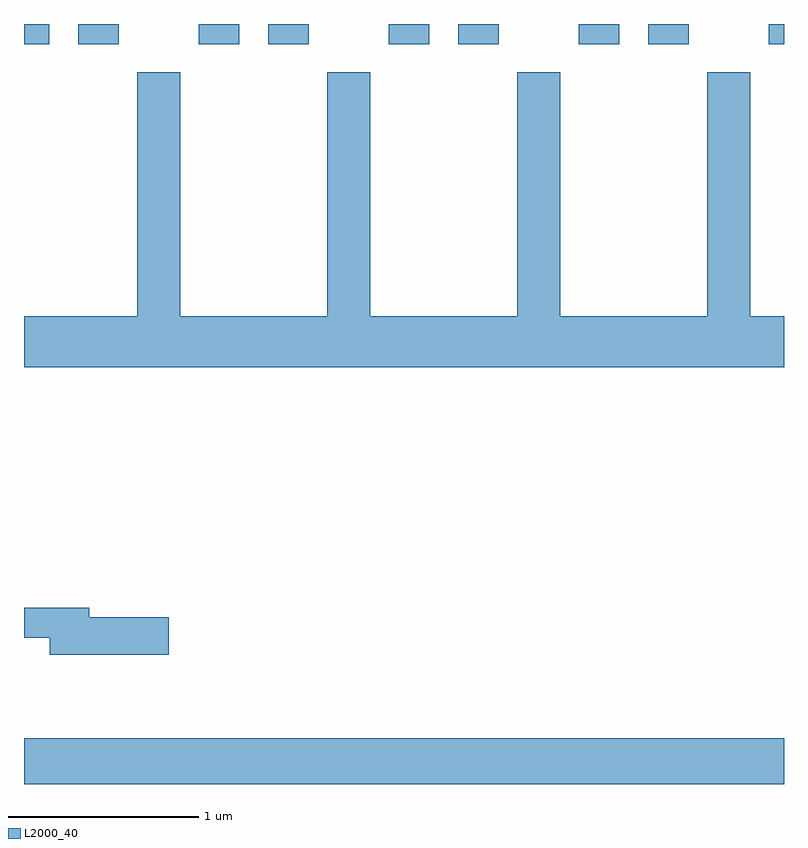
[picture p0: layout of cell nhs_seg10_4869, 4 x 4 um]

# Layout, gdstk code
import gdstk
lib = gdstk.Library(unit=1e-6, precision=1e-09)
def R(c, l, rs):  # rectangles x0, y0, x1, y1
    for r in rs: c.add(gdstk.rectangle(r[:2], r[2:], *l))
def P(c, l, *ps):  # polygons
    for p in ps: c.add(gdstk.Polygon(p, *l))
L2000_40 = (2000, 40)

nhs_seg10_4869 = lib.new_cell('nhs_seg10_4869')
R(nhs_seg10_4869, L2000_40, [(327.611,2200.522,331.611,2200.764), (327.611,2204.416,327.744,2204.522), (327.896,2204.416,328.109,2204.522), (328.531,2204.416,328.744,2204.522), (328.896,2204.416,329.109,2204.522), (329.531,2204.416,329.744,2204.522), (329.896,2204.416,330.109,2204.522), (330.531,2204.416,330.744,2204.522), (330.896,2204.416,331.109,2204.522), (331.531,2204.416,331.611,2204.522)])
P(nhs_seg10_4869, L2000_40, [(331.611,2202.984),(331.434,2202.984),(331.434,2204.269),(331.206,2204.269),(331.206,2202.984),(330.434,2202.984),(330.434,2204.269),(330.206,2204.269),(330.206,2202.984),(329.434,2202.984),(329.434,2204.269),(329.206,2204.269),(329.206,2202.984),(328.434,2202.984),(328.434,2204.269),(328.206,2204.269),(328.206,2202.984),(327.611,2202.984),(327.611,2202.716),(331.611,2202.716)],
  [(328.374,2201.399),(327.954,2201.399),(327.954,2201.449),(327.611,2201.449),(327.611,2201.291),(327.746,2201.291),(327.746,2201.201),(328.374,2201.201)])

lib.write_gds('nhs_seg10_4869.gds')
